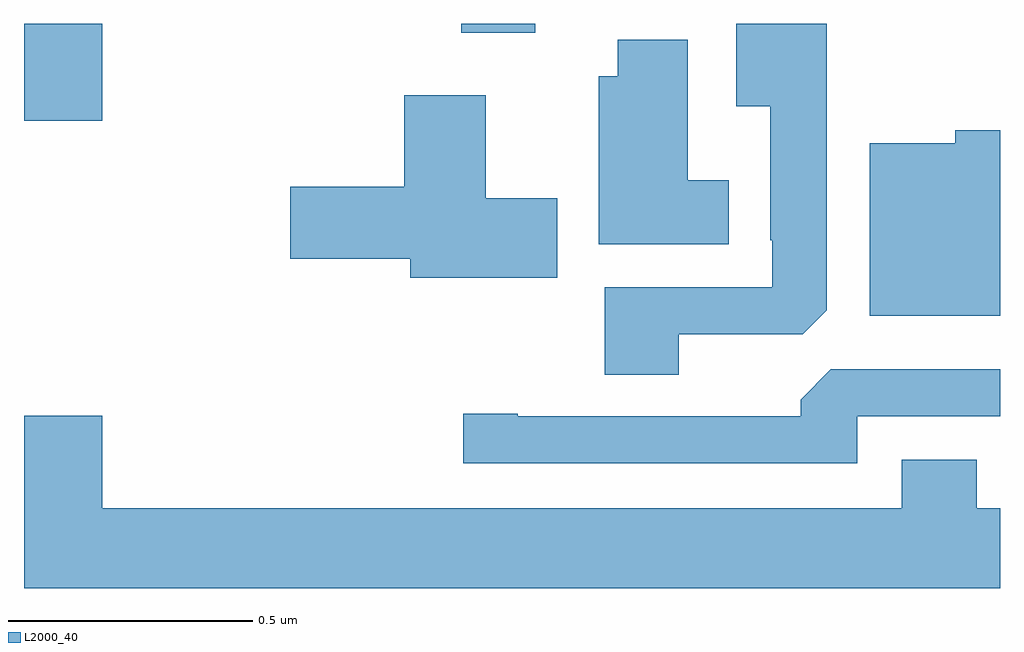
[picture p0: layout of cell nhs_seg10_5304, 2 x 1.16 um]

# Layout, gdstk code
import gdstk
lib = gdstk.Library(unit=1e-6, precision=1e-09)
def R(c, l, rs):  # rectangles x0, y0, x1, y1
    for r in rs: c.add(gdstk.rectangle(r[:2], r[2:], *l))
def P(c, l, *ps):  # polygons
    for p in ps: c.add(gdstk.Polygon(p, *l))
L2000_40 = (2000, 40)

nhs_seg10_5304 = lib.new_cell('nhs_seg10_5304')
R(nhs_seg10_5304, L2000_40, [(177,1273.302,177.16,1273.5), (177.896,1273.482,178.048,1273.5)])
P(nhs_seg10_5304, L2000_40, [(178.342,1272.864),(178.596,1272.864),(178.645,1272.913),(178.645,1273.5),(178.46,1273.5),(178.46,1273.331),(178.529,1273.331),(178.529,1273.057),(178.533,1273.057),(178.533,1272.96),(178.19,1272.96),(178.19,1272.781),(178.342,1272.781)],
  [(178.444,1273.18),(178.36,1273.18),(178.36,1273.468),(178.217,1273.468),(178.217,1273.393),(178.178,1273.393),(178.178,1273.049),(178.444,1273.049)],
  [(178.093,1273.143),(177.946,1273.143),(177.946,1273.354),(177.779,1273.354),(177.779,1273.166),(177.546,1273.166),(177.546,1273.019),(177.791,1273.019),(177.791,1272.98),(178.093,1272.98)],
  [(179,1273.282),(178.908,1273.282),(178.908,1273.255),(178.733,1273.255),(178.733,1272.902),(179,1272.902)],
  [(178.707,1272.696),(179,1272.696),(179,1272.792),(178.653,1272.792),(178.592,1272.73),(178.592,1272.696),(178.012,1272.696),(178.012,1272.701),(177.9,1272.701),(177.9,1272.6),(178.707,1272.6)],
  [(179,1272.508),(178.952,1272.508),(178.952,1272.607),(178.799,1272.607),(178.799,1272.508),(177.16,1272.508),(177.16,1272.697),(177,1272.697),(177,1272.344),(179,1272.344)])

lib.write_gds('nhs_seg10_5304.gds')
